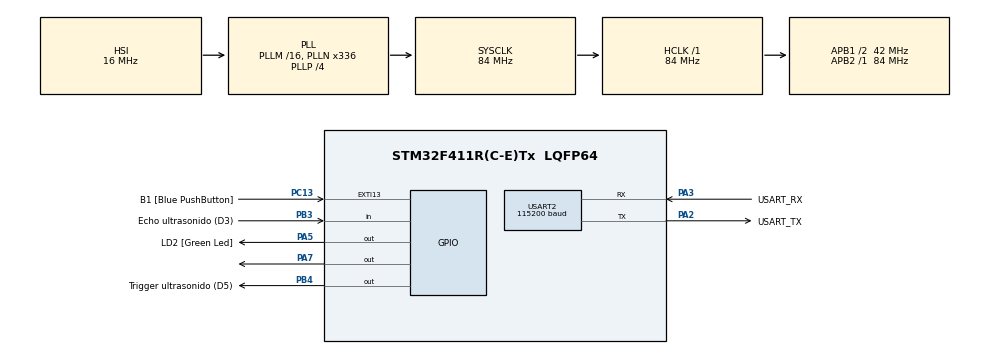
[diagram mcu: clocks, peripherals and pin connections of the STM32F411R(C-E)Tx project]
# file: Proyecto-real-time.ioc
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FREERTOS.Events01=PinPolling,Dynamic,NULL;UARTsend,Dynamic,NULL
FREERTOS.Mutexes01=Mutex,Dynamic,NULL
FREERTOS.Queues01=frecuenciaUltrasonido,16,uint16_t,0,Dynamic,NULL,NULL;frecuenciaConstante,16,uint16_t,0,Dynamic,NULL,NULL;frecuenciaLog,16,uint16_t,0,Dynamic,NULL,NULL;MandarUARTqueue,30,uint8_t,0,Dynamic,NULL,NULL
FREERTOS.Tasks01=defaultTask,24,128,StartDefaultTask,Default,NULL,Dynamic,NULL,NULL;LecturaPin,32,128,LecturaPines,Default,NULL,Dynamic,NULL,NULL;ultrasound,32,128,Ultrasound,Default,NULL,Dynamic,NULL,NULL;Buzzer,32,128,BuzzerA,Default,NULL,Dynamic,NULL,NULL;RecibirUART,32,128,Recibir_UART,Default,NULL,Dynamic,NULL,NULL;MandarUART,24,128,Mandar_UART,Default,NULL,Dynamic,NULL,NULL
Mcu.Family=STM32F4
Mcu.Name=STM32F411R(C-E)Tx
Mcu.Package=LQFP64
NVIC.PriorityGroup=NVIC_PRIORITYGROUP_4
NVIC.TIM1_UP_TIM10_IRQn=true\:5\:0\:false\:false\:true\:true\:true\:true\:true
NVIC.TIM3_IRQn=true\:5\:0\:false\:false\:true\:true\:true\:true\:true
NVIC.USART2_IRQn=true\:5\:0\:false\:false\:true\:true\:true\:true\:true
PA13.GPIO_Label=TMS
PA13.Mode=Serial_Wire
PA13.Signal=SYS_JTMS-SWDIO
PA14.GPIO_Label=TCK
PA14.Mode=Serial_Wire
PA14.Signal=SYS_JTCK-SWCLK
PA2.GPIO_Label=USART_TX
PA2.Mode=Asynchronous
PA2.Signal=USART2_TX
PA3.GPIO_Label=USART_RX
PA3.Mode=Asynchronous
PA3.Signal=USART2_RX
PA5.GPIO_Label=LD2 [Green Led]
PA5.Signal=GPIO_Output
PA7.Signal=GPIO_Output
PB3.GPIO_Label=Echo ultrasonido (D3)
PB3.Signal=GPIO_Input
PB4.GPIO_Label=Trigger ultrasonido (D5)
PB4.Signal=GPIO_Output
PC13-ANTI_TAMP.GPIO_Label=B1 [Blue PushButton]
PC13-ANTI_TAMP.GPIO_ModeDefaultEXTI=GPIO_MODE_IT_FALLING
PC13-ANTI_TAMP.Signal=GPXTI13
PC14-OSC32_IN.Mode=LSE-External-Oscillator
PC14-OSC32_IN.Signal=RCC_OSC32_IN
PC15-OSC32_OUT.Mode=LSE-External-Oscillator
PC15-OSC32_OUT.Signal=RCC_OSC32_OUT
PH0\ -\ OSC_IN.Mode=HSE-External-Clock-Source
PH0\ -\ OSC_IN.Signal=RCC_OSC_IN
PH1\ -\ OSC_OUT.Mode=HSE-External-Clock-Source
PH1\ -\ OSC_OUT.Signal=RCC_OSC_OUT
ProjectManager.HeapSize=0x200
ProjectManager.StackSize=0x400
ProjectManager.TargetToolchain=STM32CubeIDE
RCC.48MHZClocksFreq_Value=84000000
RCC.AHBFreq_Value=84000000
RCC.APB1CLKDivider=RCC_HCLK_DIV2
RCC.APB1Freq_Value=42000000
RCC.APB1TimFreq_Value=84000000
RCC.APB2Freq_Value=84000000
RCC.APB2TimFreq_Value=84000000
RCC.CortexFreq_Value=84000000
RCC.FLatency-AdvancedSettings=FLASH_LATENCY_2
RCC.HCLKFreq_Value=84000000
RCC.HSE_VALUE=8000000
RCC.HSI_VALUE=16000000
RCC.PLLN=336
RCC.PLLP=RCC_PLLP_DIV4
RCC.SYSCLKFreq_VALUE=84000000
RCC.SYSCLKSource=RCC_SYSCLKSOURCE_PLLCLK
RCC.VCOOutputFreq_Value=336000000
TIM1.Period=1
TIM1.Prescaler=84
TIM3.AutoReloadPreload=TIM_AUTORELOAD_PRELOAD_ENABLE
TIM3.Prescaler=41
USART2.BaudRate=115200
USART2.VirtualMode=VM_ASYNC
VP_FREERTOS_VS_CMSIS_V2.Mode=CMSIS_V2
VP_TIM1_VS_ClockSourceINT.Mode=Internal
VP_TIM3_VS_ClockSourceINT.Mode=Internal
board=NUCLEO-F411RE

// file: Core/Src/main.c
/* USER CODE BEGIN Header */
/**
  ******************************************************************************
  * @file           : main.c
  * @brief          : Main program body
  ******************************************************************************
  * @attention
  *
  * Copyright (c) 2024 STMicroelectronics.
  * All rights reserved.
  *
  * This software is licensed under terms that can be found in the LICENSE file
  * in the root directory of this software component.
  * If no LICENSE file comes with this software, it is provided AS-IS.
  *
  ******************************************************************************
  */
/* USER CODE END Header */
#include "main.h"
#include "cmsis_os.h"

/* USER CODE BEGIN Includes */
#include "string.h"
#include "stdio.h"
#include "stdlib.h"
/* USER CODE END Includes */

/* USER CODE BEGIN PD */
void delay_us(uint16_t us);
uint32_t TiempoaFrecuencia(uint32_t us);
void HAL_TIM_PeriodElapsedCallback(TIM_HandleTypeDef *htim);
void HAL_UART_RxCpltCallback(UART_HandleTypeDef *huart);
void UARTCommand(char *comando);
/* USER CODE END PD */

TIM_HandleTypeDef htim1;
TIM_HandleTypeDef htim3;

UART_HandleTypeDef huart2;

/* Definitions for defaultTask */
osThreadId_t defaultTaskHandle;
const osThreadAttr_t defaultTask_attributes = {
  .name = "defaultTask",
  .stack_size = 128 * 4,
  .priority = (osPriority_t) osPriorityNormal,
};
/* Definitions for LecturaPin */
osThreadId_t LecturaPinHandle;
const osThreadAttr_t LecturaPin_attributes = {
  .name = "LecturaPin",
  .stack_size = 128 * 4,
  .priority = (osPriority_t) osPriorityAboveNormal,
};
/* Definitions for ultrasound */
osThreadId_t ultrasoundHandle;
const osThreadAttr_t ultrasound_attributes = {
  .name = "ultrasound",
  .stack_size = 128 * 4,
  .priority = (osPriority_t) osPriorityAboveNormal,
};
/* Definitions for Buzzer */
osThreadId_t BuzzerHandle;
const osThreadAttr_t Buzzer_attributes = {
  .name = "Buzzer",
  .stack_size = 128 * 4,
  .priority = (osPriority_t) osPriorityAboveNormal,
};
/* Definitions for RecibirUART */
osThreadId_t RecibirUARTHandle;
const osThreadAttr_t RecibirUART_attributes = {
  .name = "RecibirUART",
  .stack_size = 128 * 4,
  .priority = (osPriority_t) osPriorityAboveNormal,
};
/* Definitions for MandarUART */
osThreadId_t MandarUARTHandle;
const osThreadAttr_t MandarUART_attributes = {
  .name = "MandarUART",
  .stack_size = 128 * 4,
  .priority = (osPriority_t) osPriorityNormal,
};
/* Definitions for frecuenciaUltrasonido */
osMessageQueueId_t frecuenciaUltrasonidoHandle;
const osMessageQueueAttr_t frecuenciaUltrasonido_attributes = {
  .name = "frecuenciaUltrasonido"
};
/* Definitions for frecuenciaConstante */
osMessageQueueId_t frecuenciaConstanteHandle;
const osMessageQueueAttr_t frecuenciaConstante_attributes = {
  .name = "frecuenciaConstante"
};
/* Definitions for frecuenciaLog */
osMessageQueueId_t frecuenciaLogHandle;
const osMessageQueueAttr_t frecuenciaLog_attributes = {
  .name = "frecuenciaLog"
};
/* Definitions for MandarUARTqueue */
osMessageQueueId_t MandarUARTqueueHandle;
const osMessageQueueAttr_t MandarUARTqueue_attributes = {
  .name = "MandarUARTqueue"
};
/* Definitions for Mutex */
osMutexId_t MutexHandle;
const osMutexAttr_t Mutex_attributes = {
  .name = "Mutex"
};
/* Definitions for PinPolling */
osEventFlagsId_t PinPollingHandle;
const osEventFlagsAttr_t PinPolling_attributes = {
  .name = "PinPolling"
};
/* Definitions for UARTsend */
osEventFlagsId_t UARTsendHandle;
const osEventFlagsAttr_t UARTsend_attributes = {
  .name = "UARTsend"
};

void SystemClock_Config(void);
static void MX_GPIO_Init(void);
static void MX_USART2_UART_Init(void);
static void MX_TIM1_Init(void);
static void MX_TIM3_Init(void);
void StartDefaultTask(void *argument);
void LecturaPines(void *argument);
void Ultrasound(void *argument);
void BuzzerA(void *argument);
void Recibir_UART(void *argument);
void Mandar_UART(void *argument);

int main(void)
{

  /* MCU Configuration--------------------------------------------------------*/

  /* Reset of all peripherals, Initializes the Flash interface and the Systick. */
  HAL_Init();

  /* Configure the system clock */
  SystemClock_Config();

  /* Initialize all configured peripherals */
  MX_GPIO_Init();
  MX_USART2_UART_Init();
  MX_TIM1_Init();
  MX_TIM3_Init();

  /* Init scheduler */
  osKernelInitialize();
  /* Create the mutex(es) */
  /* creation of Mutex */
  MutexHandle = osMutexNew(&Mutex_attributes);

  /* Create the queue(s) */
  /* creation of frecuenciaUltrasonido */
  frecuenciaUltrasonidoHandle = osMessageQueueNew (16, sizeof(uint16_t), &frecuenciaUltrasonido_attributes);

  /* creation of frecuenciaConstante */
  frecuenciaConstanteHandle = osMessageQueueNew (16, sizeof(uint16_t), &frecuenciaConstante_attributes);

  /* creation of frecuenciaLog */
  frecuenciaLogHandle = osMessageQueueNew (16, sizeof(uint16_t), &frecuenciaLog_attributes);

  /* creation of MandarUARTqueue */
  MandarUARTqueueHandle = osMessageQueueNew (30, sizeof(uint8_t), &MandarUARTqueue_attributes);

  /* Create the thread(s) */
  /* creation of defaultTask */
  defaultTaskHandle = osThreadNew(StartDefaultTask, NULL, &defaultTask_attributes);

  /* creation of LecturaPin */
  LecturaPinHandle = osThreadNew(LecturaPines, NULL, &LecturaPin_attributes);

  /* creation of ultrasound */
  ultrasoundHandle = osThreadNew(Ultrasound, NULL, &ultrasound_attributes);

  /* creation of Buzzer */
  BuzzerHandle = osThreadNew(BuzzerA, NULL, &Buzzer_attributes);

  /* creation of RecibirUART */
  RecibirUARTHandle = osThreadNew(Recibir_UART, NULL, &RecibirUART_attributes);

  /* creation of MandarUART */
  MandarUARTHandle = osThreadNew(Mandar_UART, NULL, &MandarUART_attributes);

  /* creation of PinPolling */
  PinPollingHandle = osEventFlagsNew(&PinPolling_attributes);

  /* creation of UARTsend */
  UARTsendHandle = osEventFlagsNew(&UARTsend_attributes);

  /* USER CODE BEGIN RTOS_EVENTS */
  osEventFlagsSet(PinPollingHandle,0x0002U);
  /* add events, ... */
  /* USER CODE END RTOS_EVENTS */

  /* Start scheduler */
  osKernelStart();

  /* We should never get here as control is now taken by the scheduler */

  /* Infinite loop */
  while (1)
  {

  }
}

void SystemClock_Config(void)
{
  RCC_OscInitTypeDef RCC_OscInitStruct = {0};
  RCC_ClkInitTypeDef RCC_ClkInitStruct = {0};

  /** Configure the main internal regulator output voltage
  */
  __HAL_RCC_PWR_CLK_ENABLE();
  __HAL_PWR_VOLTAGESCALING_CONFIG(PWR_REGULATOR_VOLTAGE_SCALE1);

  /** Initializes the RCC Oscillators according to the specified parameters
  * in the RCC_OscInitTypeDef structure.
  */
  RCC_OscInitStruct.OscillatorType = RCC_OSCILLATORTYPE_HSI;
  RCC_OscInitStruct.HSIState = RCC_HSI_ON;
  RCC_OscInitStruct.HSICalibrationValue = RCC_HSICALIBRATION_DEFAULT;
  RCC_OscInitStruct.PLL.PLLState = RCC_PLL_ON;
  RCC_OscInitStruct.PLL.PLLSource = RCC_PLLSOURCE_HSI;
  RCC_OscInitStruct.PLL.PLLM = 16;
  RCC_OscInitStruct.PLL.PLLN = 336;
  RCC_OscInitStruct.PLL.PLLP = RCC_PLLP_DIV4;
  RCC_OscInitStruct.PLL.PLLQ = 4;
  if (HAL_RCC_OscConfig(&RCC_OscInitStruct) != HAL_OK)
  {
    Error_Handler();
  }

  /** Initializes the CPU, AHB and APB buses clocks
  */
  RCC_ClkInitStruct.ClockType = RCC_CLOCKTYPE_HCLK|RCC_CLOCKTYPE_SYSCLK
                              |RCC_CLOCKTYPE_PCLK1|RCC_CLOCKTYPE_PCLK2;
  RCC_ClkInitStruct.SYSCLKSource = RCC_SYSCLKSOURCE_PLLCLK;
  RCC_ClkInitStruct.AHBCLKDivider = RCC_SYSCLK_DIV1;
  RCC_ClkInitStruct.APB1CLKDivider = RCC_HCLK_DIV2;
  RCC_ClkInitStruct.APB2CLKDivider = RCC_HCLK_DIV1;

  if (HAL_RCC_ClockConfig(&RCC_ClkInitStruct, FLASH_LATENCY_2) != HAL_OK)
  {
    Error_Handler();
  }
}

static void MX_TIM1_Init(void)
{

  TIM_ClockConfigTypeDef sClockSourceConfig = {0};
  TIM_MasterConfigTypeDef sMasterConfig = {0};

  htim1.Instance = TIM1;
  htim1.Init.Prescaler = 84;
  htim1.Init.CounterMode = TIM_COUNTERMODE_UP;
  htim1.Init.Period = 1;
  htim1.Init.ClockDivision = TIM_CLOCKDIVISION_DIV1;
  htim1.Init.RepetitionCounter = 0;
  htim1.Init.AutoReloadPreload = TIM_AUTORELOAD_PRELOAD_DISABLE;
  if (HAL_TIM_Base_Init(&htim1) != HAL_OK)
  {
    Error_Handler();
  }
  sClockSourceConfig.ClockSource = TIM_CLOCKSOURCE_INTERNAL;
  if (HAL_TIM_ConfigClockSource(&htim1, &sClockSourceConfig) != HAL_OK)
  {
    Error_Handler();
  }
  sMasterConfig.MasterOutputTrigger = TIM_TRGO_RESET;
  sMasterConfig.MasterSlaveMode = TIM_MASTERSLAVEMODE_DISABLE;
  if (HAL_TIMEx_MasterConfigSynchronization(&htim1, &sMasterConfig) != HAL_OK)
  {
    Error_Handler();
  }

}

static void MX_TIM3_Init(void)
{

  TIM_ClockConfigTypeDef sClockSourceConfig = {0};
  TIM_MasterConfigTypeDef sMasterConfig = {0};

  htim3.Instance = TIM3;
  htim3.Init.Prescaler = 41;
  htim3.Init.CounterMode = TIM_COUNTERMODE_UP;
  htim3.Init.Period = 65535;
  htim3.Init.ClockDivision = TIM_CLOCKDIVISION_DIV1;
  htim3.Init.AutoReloadPreload = TIM_AUTORELOAD_PRELOAD_ENABLE;
  if (HAL_TIM_Base_Init(&htim3) != HAL_OK)
  {
    Error_Handler();
  }
  sClockSourceConfig.ClockSource = TIM_CLOCKSOURCE_INTERNAL;
  if (HAL_TIM_ConfigClockSource(&htim3, &sClockSourceConfig) != HAL_OK)
  {
    Error_Handler();
  }
  sMasterConfig.MasterOutputTrigger = TIM_TRGO_RESET;
  sMasterConfig.MasterSlaveMode = TIM_MASTERSLAVEMODE_DISABLE;
  if (HAL_TIMEx_MasterConfigSynchronization(&htim3, &sMasterConfig) != HAL_OK)
  {
    Error_Handler();
  }

}

static void MX_USART2_UART_Init(void)
{

  huart2.Instance = USART2;
  huart2.Init.BaudRate = 115200;
  huart2.Init.WordLength = UART_WORDLENGTH_8B;
  huart2.Init.StopBits = UART_STOPBITS_1;
  huart2.Init.Parity = UART_PARITY_NONE;
  huart2.Init.Mode = UART_MODE_TX_RX;
  huart2.Init.HwFlowCtl = UART_HWCONTROL_NONE;
  huart2.Init.OverSampling = UART_OVERSAMPLING_16;
  if (HAL_UART_Init(&huart2) != HAL_OK)
  {
    Error_Handler();
  }

}

static void MX_GPIO_Init(void)
{
  GPIO_InitTypeDef GPIO_InitStruct = {0};

  /* GPIO Ports Clock Enable */
  __HAL_RCC_GPIOC_CLK_ENABLE();
  __HAL_RCC_GPIOH_CLK_ENABLE();
  __HAL_RCC_GPIOA_CLK_ENABLE();
  __HAL_RCC_GPIOB_CLK_ENABLE();

  /*Configure GPIO pin Output Level */
  HAL_GPIO_WritePin(GPIOA, LD2_Pin|GPIO_PIN_7, GPIO_PIN_RESET);

  /*Configure GPIO pin Output Level */
  HAL_GPIO_WritePin(Trigger_ultrasonido_GPIO_Port, Trigger_ultrasonido_Pin, GPIO_PIN_RESET);

  /*Configure GPIO pin : B1_Pin */
  GPIO_InitStruct.Pin = B1_Pin;
  GPIO_InitStruct.Mode = GPIO_MODE_IT_FALLING;
  GPIO_InitStruct.Pull = GPIO_NOPULL;
  HAL_GPIO_Init(B1_GPIO_Port, &GPIO_InitStruct);

  /*Configure GPIO pins : LD2_Pin PA7 */
  GPIO_InitStruct.Pin = LD2_Pin|GPIO_PIN_7;
  GPIO_InitStruct.Mode = GPIO_MODE_OUTPUT_PP;
  GPIO_InitStruct.Pull = GPIO_NOPULL;
  GPIO_InitStruct.Speed = GPIO_SPEED_FREQ_LOW;
  HAL_GPIO_Init(GPIOA, &GPIO_InitStruct);

  /*Configure GPIO pin : Echo_ultrasonido_Pin */
  GPIO_InitStruct.Pin = Echo_ultrasonido_Pin;
  GPIO_InitStruct.Mode = GPIO_MODE_INPUT;
  GPIO_InitStruct.Pull = GPIO_NOPULL;
  HAL_GPIO_Init(Echo_ultrasonido_GPIO_Port, &GPIO_InitStruct);

  /*Configure GPIO pin : Trigger_ultrasonido_Pin */
  GPIO_InitStruct.Pin = Trigger_ultrasonido_Pin;
  GPIO_InitStruct.Mode = GPIO_MODE_OUTPUT_PP;
  GPIO_InitStruct.Pull = GPIO_NOPULL;
  GPIO_InitStruct.Speed = GPIO_SPEED_FREQ_LOW;
  HAL_GPIO_Init(Trigger_ultrasonido_GPIO_Port, &GPIO_InitStruct);

}

/* USER CODE BEGIN 4 */
uint16_t timcounter;
#define TIME_MIN_US 66    // Tiempo mínimo (2cm)
#define TIME_MAX_US 200  // Tiempo máximo (4m)
#define FREQ_MIN_HZ 2000    // Frecuencia mínima (2 kHz)
#define FREQ_MAX_HZ 5000    // Frecuencia máxima (5 kHz)

//Variables para la transmision UART
char txbuffer[30];
char rxBuffer[1];           // Buffer for single-byte UART reception
char Buffer[20];  // Buffer to store the command
uint16_t cmdIndice = 0;      // Indice para controlar los datos
uint16_t FrecuenciaBuzzer = 2000;  // Frecuencia(Hz)
uint8_t EntradaBuzzer = 1;         // Controla la entrada del buzzer
uint16_t FrecuenciaMandar;  // Frecuencia(Hz)

//Funcion de generacion de frecuencias para el buzzer
uint32_t TiempoaFrecuencia(uint32_t us) {
    // Limitar el tiempo a los valores mínimos y máximos
    if (us < TIME_MIN_US) us = TIME_MIN_US;
    if (us > TIME_MAX_US) us = TIME_MAX_US;

    // Aplicar la fórmula de interpolación lineal
    uint32_t frecuencia = FREQ_MIN_HZ + (us - TIME_MIN_US) * (FREQ_MAX_HZ - FREQ_MIN_HZ) / (TIME_MAX_US - TIME_MIN_US);

    return frecuencia;
}

void delay_us(uint16_t us)
{
	HAL_TIM_Base_Start_IT(&htim1);
    __HAL_TIM_SET_COUNTER(&htim1, 0);
    while(timcounter<us);

    HAL_TIM_Base_Stop_IT(&htim1);
    timcounter = 0;
}

/*Callback TIM*/
void HAL_TIM_PeriodElapsedCallback(TIM_HandleTypeDef *htim){
	if (htim->Instance == TIM1){
	timcounter++;
	}

	else {
	HAL_GPIO_TogglePin(GPIOA,GPIO_PIN_7);
	}
}
void HAL_UART_TxCpltCallback(UART_HandleTypeDef * huart){
}

//Callback USART2
void HAL_UART_RxCpltCallback(UART_HandleTypeDef *huart)
{
	if (huart->Instance == USART2) {
	        char rxChar = rxBuffer[0];

	        if (rxChar == '\r') {
	            //Añade el fin de string
	            Buffer[cmdIndice] = '\0';

	            // Procesa el comando
	            UARTCommand(Buffer);

	            // Reinicia el indice
	            cmdIndice = 0;
	            memset(Buffer, 0, sizeof(Buffer));
	        } else if (cmdIndice < sizeof(Buffer) - 1) {
	            // Añade el char al siguiente espacio
	            Buffer[cmdIndice++] = rxChar;
	        } else {
	            // Buffer lleno
	            cmdIndice = 0;  // Reset the buffer
	        }

	        // Reinicia la conexion
	        HAL_UART_Receive_IT(&huart2, (uint8_t *)rxBuffer, 1);
	    }
}

void UARTCommand(char *comando)
{
	uint16_t frecuencia;
	 if (strncmp(comando, "SRC", 3) == 0) {
		 //Comando recibido: SRC
		 EntradaBuzzer = atoi(comando + 4);
		 memset(txbuffer,0,sizeof(txbuffer));
		 sprintf(txbuffer,"#Entrada cambiada: %d#",EntradaBuzzer);

	 } else if (strncmp(comando, "FREQ", 4) == 0) {
		 frecuencia = atoi(comando + 5);  // Extrae la frecuencia
		 if((frecuencia>=2000) && (frecuencia<=5000)){
			 FrecuenciaBuzzer = frecuencia;
			 memset(txbuffer,0,sizeof(txbuffer));
             sprintf(txbuffer,"#Frecuencia: %d#", frecuencia);
			 osMessageQueuePut(frecuenciaConstanteHandle,&frecuencia,0U,0U);
		 } else {
			 memset(txbuffer,0,sizeof(txbuffer));
			 sprintf(txbuffer,"#Frecuencia no valida#");
		 }
	 } else if (strncmp(comando, "frecuencia", 10) == 0) {
			 memset(txbuffer,0,sizeof(txbuffer));
			 sprintf(txbuffer,"#%d#", FrecuenciaMandar);
	 } else {
		 memset(txbuffer,0,sizeof(txbuffer));
		 sprintf(txbuffer,"#Comando no valido#");
	 }
	 osEventFlagsSet(UARTsendHandle,0x0001U);
}
/* USER CODE END 4 */

void StartDefaultTask(void *argument)
{
  for(;;)
  {
    osDelay(1);
  }
}

void LecturaPines(void *argument)
{
  /* USER CODE BEGIN LecturaPines */
	uint8_t pulso;
	uint8_t PinEstado = 0;
  /* Infinite loop */
  for(;;)
  {
	PinEstado = HAL_GPIO_ReadPin(GPIOB,GPIO_PIN_3);
	  if(PinEstado == 1){
		  __HAL_TIM_SET_COUNTER(&htim1, 0);
		  HAL_TIM_Base_Start_IT(&htim1);
	  }else{
	  	  HAL_TIM_Base_Stop_IT(&htim1);
	  	  pulso = timcounter;
	  	  osEventFlagsSet(PinPollingHandle,0x0002U);
	  }
	  if(pulso != 0){
		  uint16_t frecuencia = TiempoaFrecuencia(pulso);
		  osMessageQueuePut(frecuenciaUltrasonidoHandle,&frecuencia,0,0);
	  }
	  osDelay(1);
  }
  /* USER CODE END LecturaPines */
}

void Ultrasound(void *argument)
{
  /* USER CODE BEGIN Ultrasound */
	/* Infinite loop */
  for(;;)
  {
	  osEventFlagsWait(PinPollingHandle,0x0002U,0,osWaitForever);
	  /*Reconfigura el pin como output */
	  timcounter = 0;

	  HAL_GPIO_WritePin(GPIOB, GPIO_PIN_4,GPIO_PIN_SET);
	  /* funcion de delay de 5us*/
	  delay_us(10);
	  HAL_GPIO_WritePin(GPIOB, GPIO_PIN_4,GPIO_PIN_RESET);

    osDelay(1);
  }
  /* USER CODE END Ultrasound */
}

void BuzzerA(void *argument)
{
  /* USER CODE BEGIN BuzzerA */
	uint16_t frecuencia;
  /* Infinite loop */
  for(;;)
  {
	  if(EntradaBuzzer == 1){
	  		  osMessageQueueGet(frecuenciaUltrasonidoHandle,&frecuencia,NULL,osWaitForever);
	  }
	  if(EntradaBuzzer == 2){
	  		  osMessageQueueGet(frecuenciaConstanteHandle,&frecuencia,NULL,osWaitForever);
	  }
	  FrecuenciaMandar = frecuencia;

	  HAL_TIM_Base_Stop_IT(&htim3);
	  __HAL_TIM_SET_COUNTER(&htim3, 0);

	  uint32_t timerPeripherals = HAL_RCC_GetPCLK1Freq(); // Frecuencia del reloj del temporizador
	  uint32_t timerClock = timerPeripherals*2;
	  uint32_t arr = 1000; // Mantén ARR fijo en este caso para un duty cycle del 0-100%
	  uint32_t prescaler = (timerClock / (frecuencia * arr)) - 1; // Ajustar prescaler

	  __HAL_TIM_SET_PRESCALER(&htim3, prescaler); // Cambia el prescaler
	  __HAL_TIM_SET_AUTORELOAD(&htim3, arr);     // Cambia el ARR

	      HAL_TIM_Base_Start_IT(&htim3);        // Reinicia el Timer3

    osDelay(1);
  }
  /* USER CODE END BuzzerA */
}

void Recibir_UART(void *argument)
{
  /* USER CODE BEGIN Recibir_UART */
  /* Infinite loop */
  for(;;)
  {

	HAL_UART_Receive_IT(&huart2, (uint8_t*)rxBuffer, 1);
    osDelay(1);
  }
  /* USER CODE END Recibir_UART */
}

void Mandar_UART(void *argument)
{
  /* USER CODE BEGIN Mandar_UART */
  /* Infinite loop */
  for(;;)
  {
	  osEventFlagsWait(UARTsendHandle,0x0001U,0,osWaitForever);
	HAL_UART_Transmit_IT(&huart2,(uint8_t*)txbuffer,sizeof(txbuffer));
    osDelay(1);
  }
  /* USER CODE END Mandar_UART */
}

void Error_Handler(void)
{
  __disable_irq();
  while (1)
  {
  }
}
